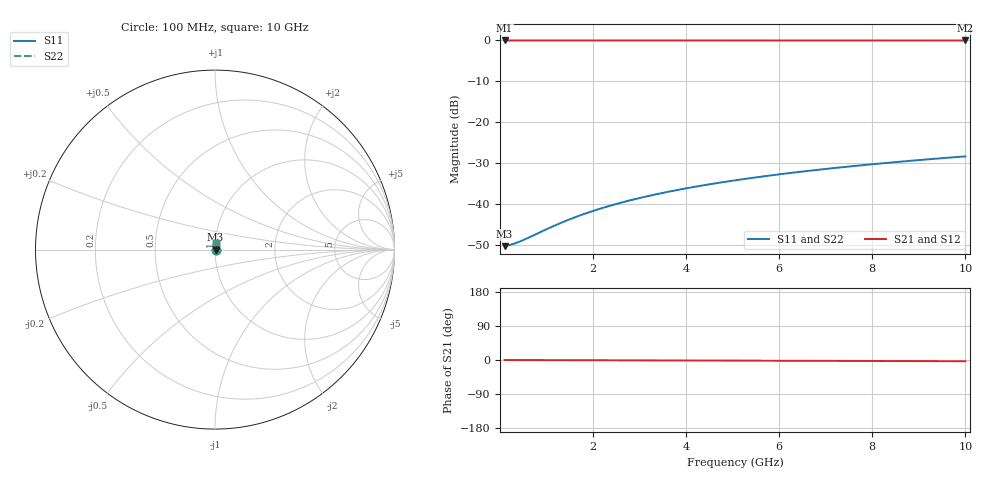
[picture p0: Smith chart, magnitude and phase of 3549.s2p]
# Hz S RI R 50.00
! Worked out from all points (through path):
!   100 points, 100 MHz to 10 GHz, reference 50 ohm
!   highest |S21| = -0.03 dB at 100 MHz (marker M1); lowest = 0.0 dB at 10 GHz (marker M2)
!   lowest |S11| = -50.2 dB at 100 MHz (marker M3), VSWR 1.01, Z = 50.3 + j0.0383 ohm
!   |S11| at or under -10 dB: start of sweep to end of sweep
!   |S22| runs from -50.2 to -28.3 dB; largest |S21 - S12| = 0
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1e8  0.00306 0.00038  0.9969 -0.000563  0.9969 -0.000563  0.00306 0.00038
2e8  0.00308 0.000761  0.9969 -0.00113  0.9969 -0.00113  0.00308 0.000761
3e8  0.00309 0.00114  0.9969 -0.00169  0.9969 -0.00169  0.00309 0.00114
4e8  0.00311 0.00152  0.9969 -0.00225  0.9969 -0.00225  0.00311 0.00152
6e8  0.00313 0.00228  0.9969 -0.00338  0.9969 -0.00338  0.00313 0.00228
1e9  0.00317 0.0038  0.9968 -0.00563  0.9968 -0.00563  0.00317 0.0038
1.3e9  0.0032 0.00494  0.9968 -0.00732  0.9968 -0.00732  0.0032 0.00494
1.5e9  0.00322 0.0057  0.9968 -0.00845  0.9968 -0.00845  0.00322 0.0057
1.8e9  0.00326 0.00685  0.9967 -0.0101  0.9967 -0.0101  0.00326 0.00685
2.1e9  0.00329 0.00799  0.9967 -0.0118  0.9967 -0.0118  0.00329 0.00799
2.5e9  0.00335 0.00951  0.9966 -0.0141  0.9966 -0.0141  0.00335 0.00951
2.9e9  0.00341 0.011  0.9966 -0.0163  0.9966 -0.0163  0.00341 0.011
3.4e9  0.00349 0.0129  0.9965 -0.0192  0.9965 -0.0192  0.00349 0.0129
3.8e9  0.00356 0.0144  0.9964 -0.0214  0.9964 -0.0214  0.00356 0.0144
4.2e9  0.00364 0.016  0.9963 -0.0237  0.9963 -0.0237  0.00364 0.016
4.6e9  0.00373 0.0175  0.9962 -0.0259  0.9962 -0.0259  0.00373 0.0175
5.1e9  0.00384 0.0194  0.9961 -0.0287  0.9961 -0.0287  0.00384 0.0194
5.9e9  0.00405 0.0224  0.9959 -0.0332  0.9959 -0.0332  0.00405 0.0224
6.7e9  0.00428 0.0255  0.9956 -0.0377  0.9956 -0.0377  0.00428 0.0255
7.5e9  0.00454 0.0285  0.9953 -0.0423  0.9953 -0.0423  0.00454 0.0285
8.4e9  0.00487 0.0319  0.995 -0.0473  0.995 -0.0473  0.00487 0.0319
1e10  0.00554 0.038  0.9943 -0.0563  0.9943 -0.0563  0.00554 0.038
